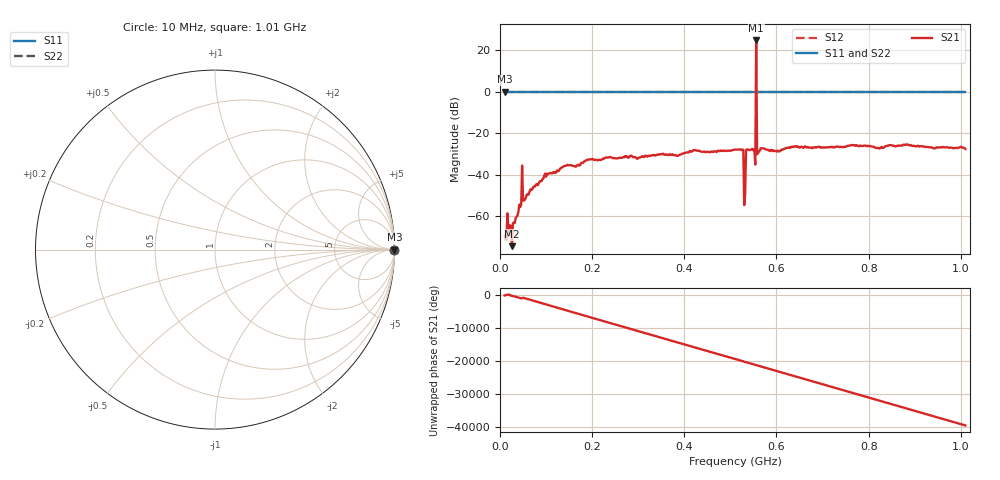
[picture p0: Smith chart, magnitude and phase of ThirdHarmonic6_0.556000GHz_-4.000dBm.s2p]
! 8/15/2025 5:39:38 PM
! C:\ANRITSUVNA\TEMP\TEMP.S2P
! CHANNEL.1
! TR.MEASUREMENT
! RAW.DATA
! RF.CORRECTION.OFF
! AVERAGING.OFF
! IF.BANDWIDTH: 5KHZ
! SWEEPTYPE:  FREQ.SWEEP(Linear)
! Reference Plane Port Info
! PORT:  PORT1  PORT2
! DISTANCE:  0  m  0  m
! TIME:  0  s  0  s
! PHASE.OFFSET:  0  deg.  0  deg.
! LOSS:  0  dB  0  dB
! REF.LOSS:  0  dB  0  dB
! REF.FREQ:  0  Hz  0  Hz
! Power Info
! POWER:  -20  dBm  -20  dBm
! EFF.POWER:  -20  dBm  -20  dBm
! SOURCE.ATTEN:  0  dB  0  dB
! TEST.ATTEN:  0  dB  0  dB
# GHZ S RI R 50.0
! FREQ.GHZ  S11RE  S11IM  S21RE  S21IM  S12RE  S12IM  S22RE  S22IM
!; PortSelection: Port_12
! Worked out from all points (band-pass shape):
!   501 points, 10 MHz to 1.01 GHz, reference 50 ohm
!   highest |S21| = 24.78 dB at 556 MHz (marker M1); lowest = -74.4 dB at 26 MHz (marker M2)
!   |S21| within 3 dB of the highest: 555.8998 MHz to 556.1092 MHz (209.4 kHz wide, 0.0377 % of centre)
!   lowest |S11| = 0.0 dB at 10 MHz (marker M3)
!   |S11| at or under -10 dB: nowhere
!   |S22| runs from 0.0 to 0.0 dB; largest |S21 - S12| = 18
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0.01  1 0  0.000263 -0.000229  1 0  1 0
0.02  1 0  -0.000342 -8.11e-05  1 0  1 0
0.022  1 0  0.000584 0.00016  1 0  1 0
0.026  1 0  -8.82e-05 -0.000168  1 0  1 0
0.052  1 0  -8.12e-05 -0.00239  1 0  1 0
0.054  1 0  -0.00246 -0.000468  1 0  1 0
0.1  1 0  -0.00305 0.00837  1 0  1 0
0.178  1 0  -0.0187 -0.00453  1 0  1 0
0.344  1 0  0.0288 -0.00953  1 0  1 0
0.51  1 0  -0.0353 0.02  1 0  1 0
0.524  1 0  0.0231 -0.0321  1 0  1 0
0.528  1 0  -0.0333 0.0225  1 0  1 0
0.534  1 0  -0.0031 -0.0394  1 0  1 0
0.538  1 0  -0.00828 0.04  1 0  1 0
0.55  1 0  0.0367 -0.0127  1 0  1 0
0.552  1 0  -0.00447 -0.0402  1 0  1 0
0.556  1 0  -12.51 12  1 0  1 0
0.56  1 0  0.0145 -0.0302  1 0  1 0
0.562  1 0  -0.0267 -0.0244  1 0  1 0
0.678  1 0  -0.0258 -0.0351  1 0  1 0
0.844  1 0  0.0429 0.0283  1 0  1 0
1.01  1 0  -0.0418 -0.00143  1 0  1 0
